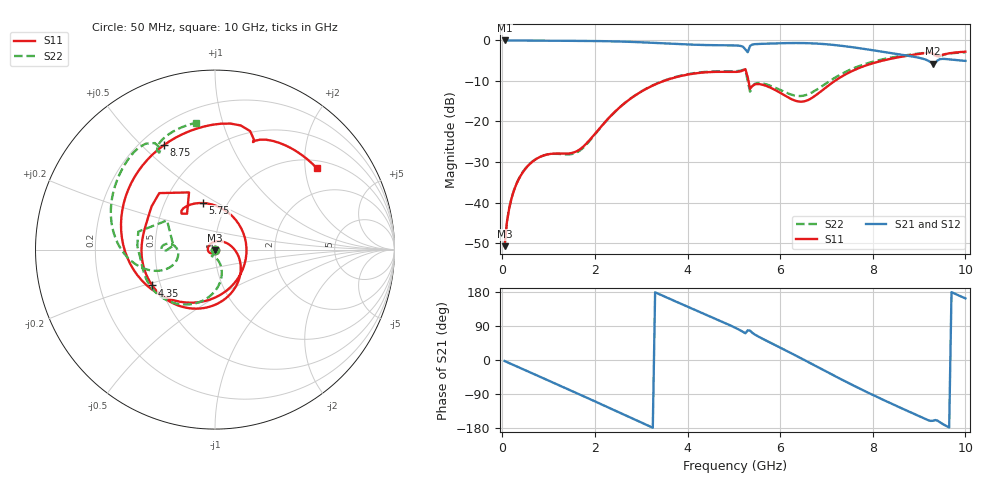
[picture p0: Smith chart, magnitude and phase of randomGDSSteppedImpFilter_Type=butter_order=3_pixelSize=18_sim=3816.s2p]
! freq	dB(S11)	phase(S11)	dB(S12)	phase(S12)
!  dB(S21)	phase(S21)	dB(S22)	phase(S22)
!S-par simulation data
#  GHz  S  DB  R 50
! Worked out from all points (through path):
!   200 points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, 50 MHz to 10 GHz, reference 50 ohm
!   highest |S21| = -0.01 dB at 50 MHz (marker M1); lowest = -5.7 dB at 9.3 GHz (marker M2)
!   group delay of S21, straight-line fit = 157 ps
!   lowest |S11| = -50.8 dB at 50 MHz (marker M3), VSWR 1.01, Z = 50 - j0.289 ohm
!   |S11| at or under -10 dB: start of sweep to 3.49 GHz; 5.316 GHz to 7.18 GHz (1.864 GHz wide, 29.8 % of centre)
!   |S22| runs from -50.6 to -2.9 dB; largest |S21 - S12| = 0
!   S11 on the Smith chart (normalised r, x): 50 MHz: 1.00, -0.01; 4.35 GHz: 0.45, -0.21; 5.75 GHz: 0.77, +0.43; 8.75 GHz: 0.29, +0.58; 10 GHz: 1.20, +2.31
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0.05  -50.76 -85.8  -0.01 -2.8  -0.01 -2.8  -50.63 -83.0
0.1  -44.82 -93.3  -0.01 -5.5  -0.01 -5.5  -44.75 -89.0
0.2  -38.94 -103.2  -0.02 -10.9  -0.02 -10.9  -38.86 -94.7
0.5  -31.65 -128.5  -0.04 -27.2  -0.04 -27.2  -31.59 -105.8
1.15  -27.90 168.7  -0.08 -62.5  -0.08 -62.5  -27.97 -116.2
1.75  -26.17 72.4  -0.12 -95.3  -0.12 -95.3  -26.45 -83.9
2.65  -15.41 -32.5  -0.31 -145.4  -0.31 -145.4  -15.39 -78.8
3.4  -10.39 -87.7  -0.67 173.1  -0.67 173.1  -10.33 -106.4
4.35  -7.90 -150.3  -1.13 122.3  -1.13 122.3  -7.79 -144.5
5.05  -7.77 160.9  -1.25 84.0  -1.25 84.0  -7.59 -172.2
5.25  -7.09 134.6  -2.22 70.5  -2.22 70.5  -7.15 166.9
5.3  -9.12 114.4  -2.89 78.3  -2.89 78.3  -10.09 148.6
5.4  -11.25 132.9  -1.00 71.7  -1.00 71.7  -11.28 -178.8
5.75  -11.45 104.3  -0.78 48.1  -0.78 48.1  -11.02 174.1
6.25  -14.51 39.0  -0.64 17.3  -0.64 17.3  -13.40 178.1
6.7  -14.09 -44.3  -0.73 -11.4  -0.73 -11.4  -12.75 -162.5
7.4  -8.45 -134.1  -1.43 -56.0  -1.43 -56.0  -7.83 -164.7
7.9  -5.99 -178.9  -2.24 -86.3  -2.24 -86.3  -5.58 179.3
8.35  -4.62 145.5  -3.04 -112.2  -3.04 -112.2  -4.34 162.8
8.75  -3.77 116.2  -3.77 -134.4  -3.77 -134.4  -3.60 147.3
9.3  -3.24 73.5  -5.71 -160.4  -5.71 -160.4  -3.33 119.5
10  -2.78 38.6  -5.04 162.6  -5.04 162.6  -2.92 98.5
